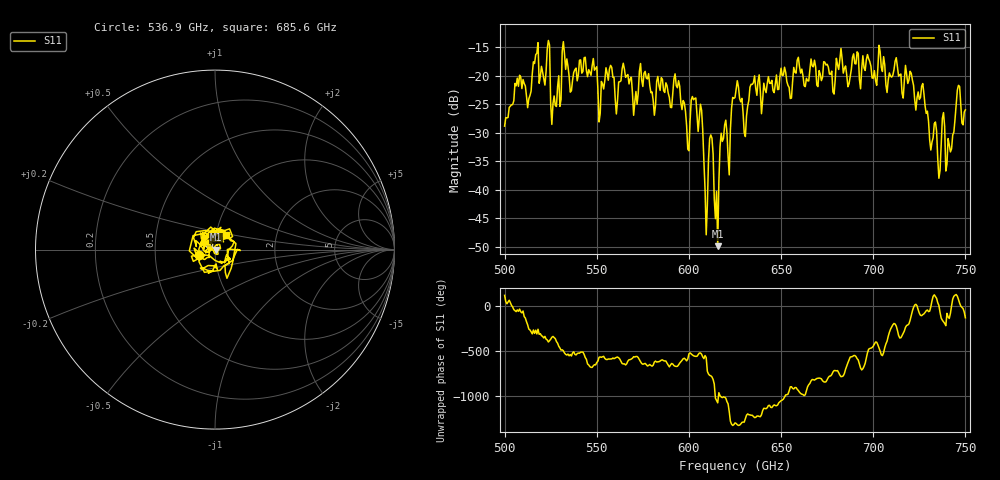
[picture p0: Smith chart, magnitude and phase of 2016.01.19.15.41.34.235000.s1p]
!Created with skrf (http://scikit-rf.org).
# GHz S RI R 50.0
!freq ReS11 ImS11
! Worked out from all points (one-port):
!   401 points, 500 GHz to 750 GHz, reference 50 ohm
!   lowest |S11| = -49.9 dB at 615.6 GHz (marker M1), VSWR 1.01, Z = 50.3 - j0.00785 ohm
!   |S11| at or under -10 dB: start of sweep to end of sweep
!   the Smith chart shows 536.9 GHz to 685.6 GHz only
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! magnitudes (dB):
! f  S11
! 500 GHz  -28.9
! 507.5 GHz  -21.9
! 513.1 GHz  -24.1
! 516.9 GHz  -16.3
! 523.1 GHz  -15.3
! 526.2 GHz  -24.9
! 531.2 GHz  -15.7
! 562.5 GHz  -21.1
! 593.8 GHz  -22.1
! 599.4 GHz  -32.9
! 602.5 GHz  -24.2
! 606.2 GHz  -25.0
! 609.4 GHz  -47.9
! 611.9 GHz  -30.4
! 614.4 GHz  -45.1
! 615.6 GHz  -49.9
! 618.1 GHz  -31.5
! 621.9 GHz  -37.4
! 625 GHz  -23.8
! 630.6 GHz  -30.7
! 634.4 GHz  -21.5
! 656.2 GHz  -21.0
! 687.5 GHz  -20.2
! 718.8 GHz  -21.4
! 735.6 GHz  -38.0
! 740.6 GHz  -31.0
! 746.2 GHz  -21.7
! 750 GHz  -26.0
